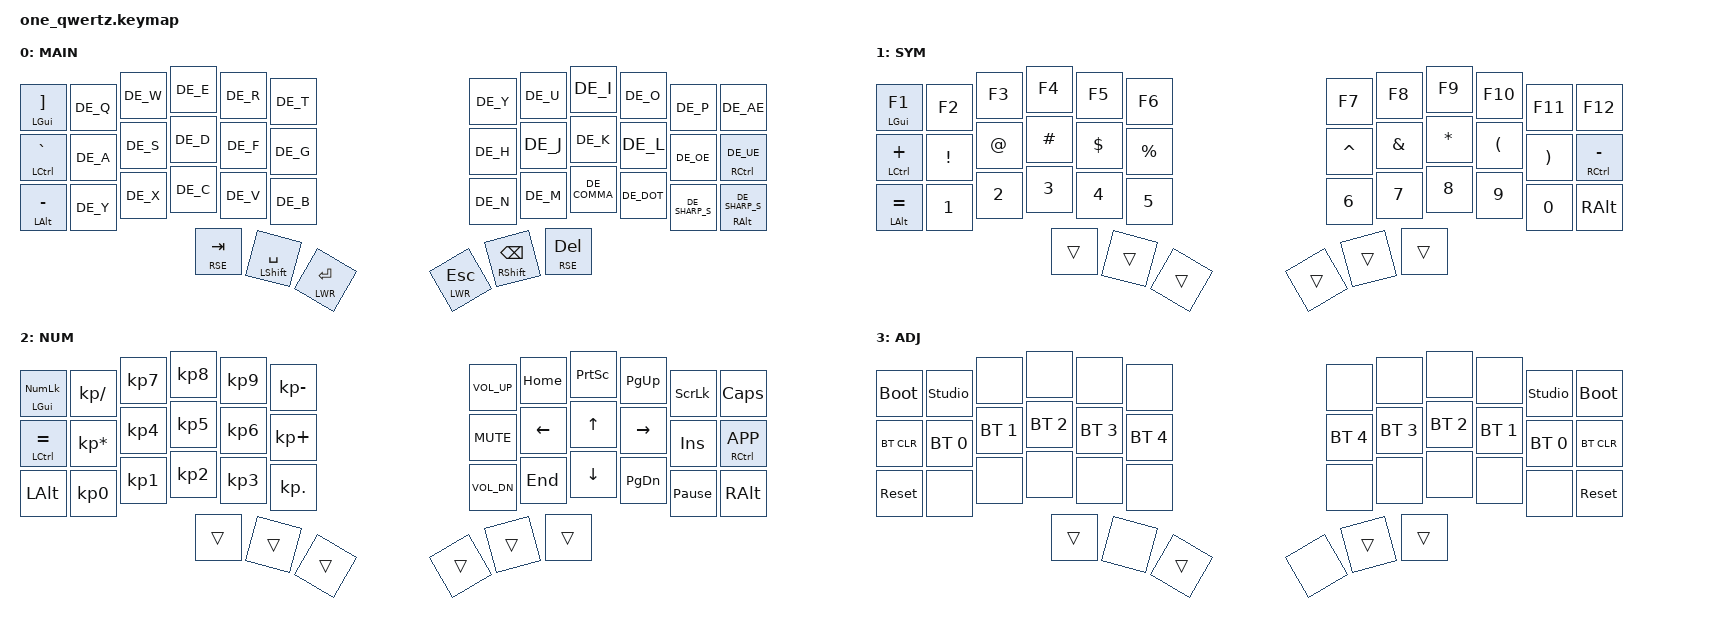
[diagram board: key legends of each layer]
#include <behaviors.dtsi>
#include <dt-bindings/zmk/keys.h>
#include <dt-bindings/zmk/bt.h>
#include <locale/keys_de.h>

#define DEF 0
#define LWR 1
#define RSE 2
#define ADJ 3

&lt {
    quick-tap-ms = <200>;
};

&mt {
    quick-tap-ms = <200>;
};

/ {
    conditional_layers {
        compatible = "zmk,conditional-layers";

        tri-layer {
            if-layers = <LWR RSE>;
            then-layer = <ADJ>;
        };
    };

    keymap {
        compatible = "zmk,keymap";

        default_layer {
            display-name = "MAIN";
            bindings = <
                &mt LGUI RBKT        &kp DE_Q         &kp DE_W                                            &kp DE_E                                    &kp DE_R                &kp DE_T                &kp DE_Y               &kp DE_U               &kp DE_I               &kp DE_O         &kp DE_P               &kp DE_AE
                &mt LCTRL GRAVE      &kp DE_A         &kp DE_S                                            &kp DE_D                                    &kp DE_F                &kp DE_G                &kp DE_H               &kp DE_J               &kp DE_K               &kp DE_L         &kp DE_OE              &mt RCTRL DE_UE
                &mt LALT MINUS       &kp DE_Y         &kp DE_X                                            &kp DE_C                                    &kp DE_V                &kp DE_B                &kp DE_N               &kp DE_M               &kp DE_COMMA           &kp DE_DOT       &kp DE_SHARP_S         &mt RALT DE_SHARP_S
          /**   &                    &                &        **/                                        &lt RSE TAB                                 &mt LSHFT SPACE         &lt LWR RET             &lt LWR ESC            &mt RSHFT BSPC         &lt RSE DEL /**        &                &                      &**/
            >;
        };
        lower_layer {
            display-name = "SYM";
            bindings = <
                &mt LGUI F1      &kp F2     &kp F3   &kp F4        &kp F5     &kp F6      &kp F7      &kp F8     &kp F9        &kp F10    &kp F11    &kp F12           
                &mt LCTRL PLUS   &kp EXCL   &kp AT   &kp HASH      &kp DLLR   &kp PRCNT   &kp CARET   &kp AMPS   &kp STAR      &kp LPAR   &kp RPAR   &mt RCTRL MINUS
                &mt LALT EQUAL   &kp N1     &kp N2   &kp N3        &kp N4     &kp N5      &kp N6      &kp N7     &kp N8        &kp N9     &kp N0     &kp RALT
                                                     &trans        &trans     &trans      &trans      &trans     &trans
            >;
        };

        raise_layer {
            display-name = "NUM";
            bindings = <
                &mt LGUI KP_NUM   &kp KP_SLASH      &kp KP_N7   &kp KP_N8   &kp KP_N9   &kp KP_MINUS   &kp C_VOL_UP   &kp HOME   &kp PSCRN   &kp PG_UP   &kp SLCK          &kp CLCK
                &mt LCTRL EQUAL   &kp KP_MULTIPLY   &kp KP_N4   &kp KP_N5   &kp KP_N6   &kp KP_PLUS    &kp C_MUTE     &kp LEFT   &kp UP      &kp RIGHT   &kp INS           &mt RCTRL  K_APP
                &kp LALT          &kp KP_N0         &kp KP_N1   &kp KP_N2   &kp KP_N3   &kp KP_DOT     &kp C_VOL_DN   &kp END    &kp DOWN    &kp PG_DN   &kp PAUSE_BREAK   &kp RALT
                                                                &trans      &trans      &trans         &trans         &trans     &trans
            >;
        };
        adjust_layer {
            display-name = "ADJ";
            bindings = <
                &bootloader   &studio_unlock &none          &none          &none          &none          &none          &none          &none          &none          &studio_unlock &bootloader
                &bt BT_CLR    &bt BT_SEL 0   &bt BT_SEL 1   &bt BT_SEL 2   &bt BT_SEL 3   &bt BT_SEL 4   &bt BT_SEL 4   &bt BT_SEL 3   &bt BT_SEL 2   &bt BT_SEL 1   &bt BT_SEL 0   &bt BT_CLR
                &sys_reset    &none          &none          &none          &none          &none          &none          &none          &none          &none          &none          &sys_reset
                                                            &trans         &none          &trans         &none          &trans         &trans
            >;
        };
    };
};
